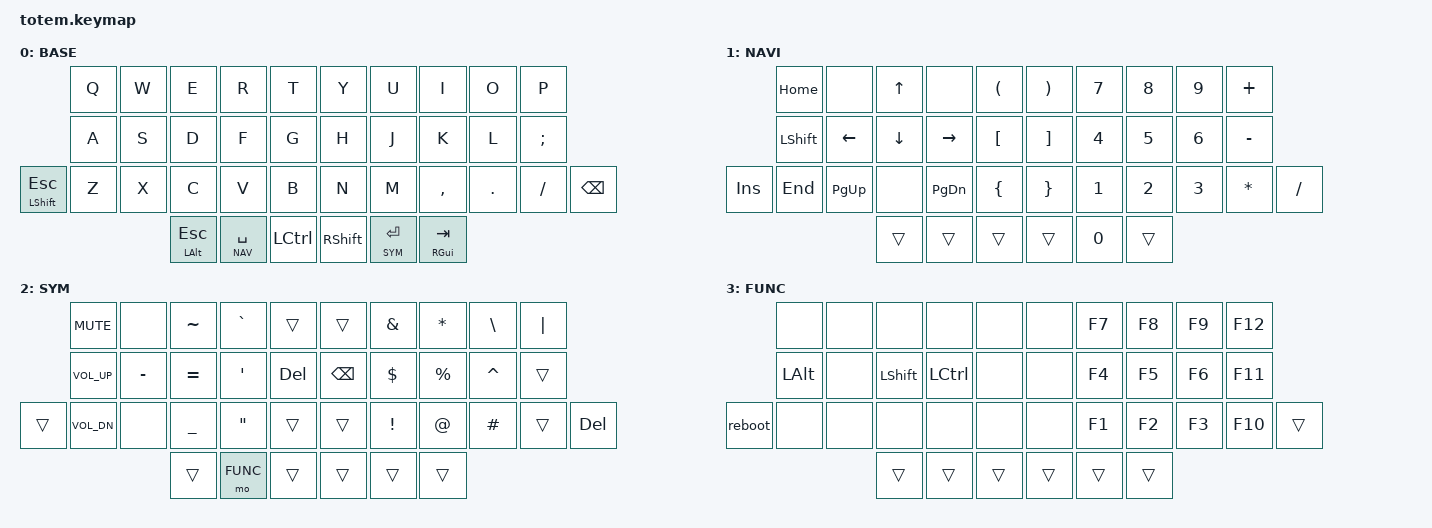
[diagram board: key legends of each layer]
//
//                                                        ▀▀▀▀▀     ▀▀▀▀▀          ▀▀█▀▀
//                                                        ▄▀▀▀▄  ▄  ▄▀▀▀▄  ▄  ▄▀▀▀▄  █  ▄▀▀▀▄
//                                                        █   █  █  █   █  █  █   █  █  █   █
//                                                         ▀▀▀   █   ▀▀▀   █   ▀▀▀   ▀   ▀▀▀
//                                                               █      ▄▄▄█▄▄▄    █   █
//                                                               ▀      █  █  █     █▄█
//                                                             ▀▀▀▀▀    █  █  █      ▀
//                                                                      ▀  ▀  ▀
//
// ▄▄▄▄▄▄▄▄▄▄▄▄▄▄▄▄▄▄▄▄▄▄▄▄▄▄▄▄▄▄▄▄▄▄▄▄▄▄▄▄▄▄▄▄▄▄▄▄▄▄▄▄▄▄▄▄▄▄▄▄▄▄▄▄▄▄▄▄▄▄▄▄▄▄▄▄▄▄▄▄▄▄▄▄▄▄▄▄▄▄▄▄▄▄▄▄▄▄▄▄▄▄▄▄▄▄▄▄▄▄▄▄▄▄▄▄▄▄▄▄▄▄▄▄▄▄▄▄▄▄▄▄▄▄▄▄▄▄▄▄▄▄▄▄▄▄▄▄▄


#include <behaviors.dtsi>
#include <dt-bindings/zmk/keys.h>
#include <dt-bindings/zmk/bt.h>
#include <dt-bindings/zmk/outputs.h>

#define BASE 0
#define NAV  1
#define SYM  2
#define FUNC 3

&mt {
  quick-tap-ms = <100>;
  global-quick-tap;
  flavor = "tap-preferred";
  tapping-term-ms = <170>;
};

/ {
     combos {
            compatible = "zmk,combos";
            combo_esc {
                timeout-ms = <50>;
                key-positions = <0 1>;
                bindings = <&kp ESC>;
            };
    };

    macros {
        reboot: reboot {
            label = "reboot";
            compatible = "zmk,behavior-macro";
            #binding-cells = <0>;
            bindings
                = <&macro_press &kp LCTRL>
                , <&macro_press &kp LALT>
                , <&macro_tap &kp DEL>
                , <&macro_release &kp LALT>
                , <&macro_release &kp LCTRL>
                ;
        };
    };

        keymap {
                compatible = "zmk,keymap";
// ▄▄▄▄▄▄▄▄▄▄▄▄▄▄▄▄▄▄▄▄▄▄▄▄▄▄▄▄▄▄▄▄▄▄▄▄▄▄▄▄▄▄▄▄▄▄▄▄▄▄▄▄▄▄▄▄▄▄▄▄▄▄▄▄▄▄▄▄▄▄▄▄▄▄▄▄▄▄▄▄▄▄▄▄▄▄▄▄▄▄▄▄▄▄▄▄▄▄▄▄▄▄▄▄▄▄▄▄▄▄▄▄▄▄▄▄▄▄▄▄▄▄▄▄▄▄▄▄▄▄▄▄▄▄▄▄▄▄▄▄▄▄▄▄▄▄▄▄▄

                base_layer {
// ┏━━━━━━━━━━━━━━━━━━━━━━━━━━━━━━━━━━━━━━━┓
label= "BASE"                              ;
// ┗━━━━━━━━━━━━━━━━━━━━━━━━━━━━━━━━━━━━━━━┛
//             ┏━━━━━━━━━━━┳━━━━━━━━━━━┳━━━━━━━━━━━┳━━━━━━━━━━━┳━━━━━━━━━━━┓   ┏━━━━━━━━━━━┳━━━━━━━━━━━┳━━━━━━━━━━━┳━━━━━━━━━━━┳━━━━━━━━━━━┓
//             ┃     Q     ┃     W     ┃     E     ┃     R     ┃     T     ┃   ┃     Y     ┃     U     ┃     I     ┃     O     ┃     P     ┃
//             ┣━━━━━━━━━━━╋━━━━━━━━━━━╋━━━━━━━━━━━╋━━━━━━━━━━━╋━━━━━━━━━━━┫   ┣━━━━━━━━━━━╋━━━━━━━━━━━╋━━━━━━━━━━━╋━━━━━━━━━━━╋━━━━━━━━━━━┫
//             ┃     A     ┃     S     ┃     D     ┃     F     ┃     G     ┃   ┃     H     ┃     J     ┃     K     ┃     L     ┃     ;     ┃
// ┏━━━━━━━━━━━╋━━━━━━━━━━━╋━━━━━━━━━━━╋━━━━━━━━━━━╋━━━━━━━━━━━╋━━━━━━━━━━━┫   ┣━━━━━━━━━━━╋━━━━━━━━━━━╋━━━━━━━━━━━╋━━━━━━━━━━━╋━━━━━━━━━━━╋━━━━━━━━━━━┓
// ┃    ESC    ┃     Z     ┃     X     ┃     C     ┃     V     ┃     B     ┃   ┃     N     ┃     M     ┃     ,     ┃     .     ┃     /     ┃    BSPC   ┃
// ┗━━━━━━━━━━━┻━━━━━━━━━━━┻━━━━━━━━━━━╋━━━━━━━━━━━╋━━━━━━━━━━━╋━━━━━━━━━━━┫   ┣━━━━━━━━━━━╋━━━━━━━━━━━╋━━━━━━━━━━━╋━━━━━━━━━━━┻━━━━━━━━━━━┻━━━━━━━━━━━┛
//                                     ┃    ALT    ┃    SPC    ┃   CTRL    ┃   ┃   SHIFT   ┃  ENTER    ┃    TAB    ┃
//                                     ┗━━━━━━━━━━━┻━━━━━━━━━━━┻━━━━━━━━━━━┛   ┗━━━━━━━━━━━┻━━━━━━━━━━━┻━━━━━━━━━━━┛
 bindings = <
// ╷           ╷           ╷           ╷           ╷           ╷           ╷   ╷           ╷           ╷           ╷           ╷           ╷           ╷

                &kp Q       &kp W       &kp E       &kp R       &kp T           &kp Y       &kp U       &kp I       &kp O       &kp P
                &kp A       &kp S       &kp D       &kp F       &kp G           &kp H       &kp J       &kp K       &kp L       &kp SEMI
 &mt LSHFT ESC  &kp Z       &kp X       &kp C       &kp V       &kp B           &kp N       &kp M       &kp COMMA   &kp DOT     &kp FSLH      &kp BSPC
                                       &mt LALT ESC &lt NAV SPACE  &kp LCTRL       &kp RSHFT &lt SYM ENTER   &mt RGUI TAB
                        >;
                };

// ▄▄▄▄▄▄▄▄▄▄▄▄▄▄▄▄▄▄▄▄▄▄▄▄▄▄▄▄▄▄▄▄▄▄▄▄▄▄▄▄▄▄▄▄▄▄▄▄▄▄▄▄▄▄▄▄▄▄▄▄▄▄▄▄▄▄▄▄▄▄▄▄▄▄▄▄▄▄▄▄▄▄▄▄▄▄▄▄▄▄▄▄▄▄▄▄▄▄▄▄▄▄▄▄▄▄▄▄▄▄▄▄▄▄▄▄▄▄▄▄▄▄▄▄▄▄▄▄▄▄▄▄▄▄▄▄▄▄▄▄▄▄▄▄▄▄▄▄▄


                nav_layer {
// ┏━━━━━━━━━━━━━━━━━━━━━━━━━━━━━━━━━━━━━━━┓
label= "NAVI"                              ;
// ┗━━━━━━━━━━━━━━━━━━━━━━━━━━━━━━━━━━━━━━━┛
//             ┏━━━━━━━━━━━┳━━━━━━━━━━━┳━━━━━━━━━━━┳━━━━━━━━━━━┳━━━━━━━━━━━┓   ┏━━━━━━━━━━━┳━━━━━━━━━━━┳━━━━━━━━━━━┳━━━━━━━━━━━┳━━━━━━━━━━━┓
//             ┃   HOME    ┃           ┃     UP    ┃           ┃     (     ┃   ┃     )     ┃     7     ┃     8     ┃     9     ┃     +     ┃
//             ┣━━━━━━━━━━━╋━━━━━━━━━━━╋━━━━━━━━━━━╋━━━━━━━━━━━╋━━━━━━━━━━━┫   ┣━━━━━━━━━━━╋━━━━━━━━━━━╋━━━━━━━━━━━╋━━━━━━━━━━━╋━━━━━━━━━━━┫
//             ┃   SHIFT   ┃   LEFT    ┃    DOWN   ┃   RIGHT   ┃     [     ┃   ┃     ]     ┃     4     ┃     5     ┃     6     ┃     -     ┃
// ┏━━━━━━━━━━━╋━━━━━━━━━━━╋━━━━━━━━━━━╋━━━━━━━━━━━╋━━━━━━━━━━━╋━━━━━━━━━━━┫   ┣━━━━━━━━━━━╋━━━━━━━━━━━╋━━━━━━━━━━━╋━━━━━━━━━━━╋━━━━━━━━━━━╋━━━━━━━━━━━┓
// ┃    INS    ┃    END    ┃   P UP    ┃           ┃  P DOWN   ┃     {     ┃   ┃     }     ┃     1     ┃     2     ┃     3     ┃     *     ┃    /      ┃
// ┗━━━━━━━━━━━┻━━━━━━━━━━━┻━━━━━━━━━━━╋━━━━━━━━━━━╋━━━━━━━━━━━╋━━━━━━━━━━━┫   ┣━━━━━━━━━━━╋━━━━━━━━━━━╋━━━━━━━━━━━╋━━━━━━━━━━━┻━━━━━━━━━━━┻━━━━━━━━━━━┛
//                                     ┃           ┃    XXX    ┃           ┃   ┃           ┃     0     ┃           ┃
//                                     ┗━━━━━━━━━━━┻━━━━━━━━━━━┻━━━━━━━━━━━┛   ┗━━━━━━━━━━━┻━━━━━━━━━━━┻━━━━━━━━━━━┛
 bindings = <
// ╷           ╷           ╷           ╷           ╷           ╷           ╷   ╷           ╷           ╷           ╷           ╷           ╷           ╷

                &kp HOME    &none       &kp UP      &none       &kp LPAR        &kp RPAR    &kp N7   &kp N8   &kp N9   &kp PLUS
                &kp LSHFT   &kp LEFT    &kp DOWN    &kp RIGHT   &kp LBKT        &kp RBKT    &kp N4   &kp N5   &kp N6   &kp MINUS
    &kp INS     &kp END     &kp PG_UP   &none       &kp PG_DN   &kp LBRC        &kp RBRC    &kp N1   &kp N2   &kp N3   &kp STAR   &kp FSLH
                                        &trans      &trans      &trans          &trans      &kp N0   &trans
                        >;
                };

// ▄▄▄▄▄▄▄▄▄▄▄▄▄▄▄▄▄▄▄▄▄▄▄▄▄▄▄▄▄▄▄▄▄▄▄▄▄▄▄▄▄▄▄▄▄▄▄▄▄▄▄▄▄▄▄▄▄▄▄▄▄▄▄▄▄▄▄▄▄▄▄▄▄▄▄▄▄▄▄▄▄▄▄▄▄▄▄▄▄▄▄▄▄▄▄▄▄▄▄▄▄▄▄▄▄▄▄▄▄▄▄▄▄▄▄▄▄▄▄▄▄▄▄▄▄▄▄▄▄▄▄▄▄▄▄▄▄▄▄▄▄▄▄▄▄▄▄▄▄


                sim_layer {
// ┏━━━━━━━━━━━━━━━━━━━━━━━━━━━━━━━━━━━━━━━┓
label= "SYM"                               ;
// ┗━━━━━━━━━━━━━━━━━━━━━━━━━━━━━━━━━━━━━━━┛
//             ┏━━━━━━━━━━━┳━━━━━━━━━━━┳━━━━━━━━━━━┳━━━━━━━━━━━┳━━━━━━━━━━━┓   ┏━━━━━━━━━━━┳━━━━━━━━━━━┳━━━━━━━━━━━┳━━━━━━━━━━━┳━━━━━━━━━━━┓
//             ┃   MUTE    ┃           ┃     ~     ┃     `     ┃           ┃   ┃           ┃     &     ┃     *     ┃     \     ┃     |     ┃
//             ┣━━━━━━━━━━━╋━━━━━━━━━━━╋━━━━━━━━━━━╋━━━━━━━━━━━╋━━━━━━━━━━━┫   ┣━━━━━━━━━━━╋━━━━━━━━━━━╋━━━━━━━━━━━╋━━━━━━━━━━━╋━━━━━━━━━━━┫
//             ┃   VOL+    ┃     -     ┃     =     ┃     '     ┃  DEL      ┃   ┃  BACKSP   ┃     $     ┃     %     ┃     ^     ┃           ┃
// ┏━━━━━━━━━━━╋━━━━━━━━━━━╋━━━━━━━━━━━╋━━━━━━━━━━━╋━━━━━━━━━━━╋━━━━━━━━━━━┫   ┣━━━━━━━━━━━╋━━━━━━━━━━━╋━━━━━━━━━━━╋━━━━━━━━━━━╋━━━━━━━━━━━╋━━━━━━━━━━━┓
// ┃           ┃   VOL-    ┃           ┃     _     ┃     "     ┃           ┃   ┃           ┃     !     ┃     @     ┃     #     ┃           ┃    DEL    ┃
// ┗━━━━━━━━━━━┻━━━━━━━━━━━┻━━━━━━━━━━━╋━━━━━━━━━━━╋━━━━━━━━━━━╋━━━━━━━━━━━┫   ┣━━━━━━━━━━━╋━━━━━━━━━━━╋━━━━━━━━━━━╋━━━━━━━━━━━┻━━━━━━━━━━━┻━━━━━━━━━━━┛
//                                     ┃           ┃   FUNC    ┃           ┃   ┃           ┃           ┃           ┃
//                                     ┗━━━━━━━━━━━┻━━━━━━━━━━━┻━━━━━━━━━━━┛   ┗━━━━━━━━━━━┻━━━━━━━━━━━┻━━━━━━━━━━━┛
 bindings = <
// ╷           ╷             ╷           ╷           ╷           ╷           ╷   ╷           ╷           ╷           ╷           ╷           ╷           ╷

                &kp C_MUTE   &none        &kp TILDE   &kp GRAVE   &trans          &trans     &kp AMPS    &kp STAR    &kp BSLH     &kp PIPE
                &kp C_VOL_UP &kp MINUS    &kp EQUAL   &kp APOS    &kp DEL         &kp BSPC   &kp DOLLAR  &kp PERCENT &kp CARET    &trans
    &trans      &kp C_VOL_DN &none        &kp UNDER   &kp DQT     &trans          &trans     &kp EXCL    &kp AT      &kp HASH     &trans      &kp DEL
                                          &trans      &mo FUNC    &trans          &trans     &trans      &trans
                        >;
                };

// ▄▄▄▄▄▄▄▄▄▄▄▄▄▄▄▄▄▄▄▄▄▄▄▄▄▄▄▄▄▄▄▄▄▄▄▄▄▄▄▄▄▄▄▄▄▄▄▄▄▄▄▄▄▄▄▄▄▄▄▄▄▄▄▄▄▄▄▄▄▄▄▄▄▄▄▄▄▄▄▄▄▄▄▄▄▄▄▄▄▄▄▄▄▄▄▄▄▄▄▄▄▄▄▄▄▄▄▄▄▄▄▄▄▄▄▄▄▄▄▄▄▄▄▄▄▄▄▄▄▄▄▄▄▄▄▄▄▄▄▄▄▄▄▄▄▄▄▄▄


                func_layer {
// ┏━━━━━━━━━━━━━━━━━━━━━━━━━━━━━━━━━━━━━━━┓
label= "FUNC"                               ;
// ┗━━━━━━━━━━━━━━━━━━━━━━━━━━━━━━━━━━━━━━━┛
//             ┏━━━━━━━━━━━┳━━━━━━━━━━━┳━━━━━━━━━━━┳━━━━━━━━━━━┳━━━━━━━━━━━┓   ┏━━━━━━━━━━━┳━━━━━━━━━━━┳━━━━━━━━━━━┳━━━━━━━━━━━┳━━━━━━━━━━━┓
//             ┃           ┃           ┃           ┃           ┃           ┃   ┃           ┃    F7     ┃    F8     ┃    F9     ┃    F12    ┃
//             ┣━━━━━━━━━━━╋━━━━━━━━━━━╋━━━━━━━━━━━╋━━━━━━━━━━━╋━━━━━━━━━━━┫   ┣━━━━━━━━━━━╋━━━━━━━━━━━╋━━━━━━━━━━━╋━━━━━━━━━━━╋━━━━━━━━━━━┫
//             ┃   ALT     ┃           ┃   SHIFT   ┃   CTRL    ┃           ┃   ┃           ┃    F4     ┃    F5     ┃    F6     ┃    F11    ┃
// ┏━━━━━━━━━━━╋━━━━━━━━━━━╋━━━━━━━━━━━╋━━━━━━━━━━━╋━━━━━━━━━━━╋━━━━━━━━━━━┫   ┣━━━━━━━━━━━╋━━━━━━━━━━━╋━━━━━━━━━━━╋━━━━━━━━━━━╋━━━━━━━━━━━╋━━━━━━━━━━━┓
// ┃  REBOOT   ┃           ┃           ┃           ┃           ┃           ┃   ┃           ┃    F1     ┃    F2     ┃    F3     ┃    F10    ┃           ┃
// ┗━━━━━━━━━━━┻━━━━━━━━━━━┻━━━━━━━━━━━╋━━━━━━━━━━━╋━━━━━━━━━━━╋━━━━━━━━━━━┫   ┣━━━━━━━━━━━╋━━━━━━━━━━━╋━━━━━━━━━━━╋━━━━━━━━━━━┻━━━━━━━━━━━┻━━━━━━━━━━━┛
//                                     ┃           ┃           ┃           ┃   ┃           ┃           ┃           ┃
//                                     ┗━━━━━━━━━━━┻━━━━━━━━━━━┻━━━━━━━━━━━┛   ┗━━━━━━━━━━━┻━━━━━━━━━━━┻━━━━━━━━━━━┛
 bindings = <
// ╷           ╷           ╷           ╷           ╷           ╷           ╷   ╷           ╷           ╷           ╷           ╷           ╷           ╷

                &none       &none      &none        &none      &none          &none      &kp F7      &kp F8      &kp F9      &kp F12
                &kp LALT    &none      &kp LSHFT    &kp LCTRL  &none          &none      &kp F4      &kp F5      &kp F6      &kp F11
    &reboot     &none       &none      &none        &none      &none          &none      &kp F1      &kp F2      &kp F3      &kp F10     &trans
                                       &trans       &trans     &trans         &trans     &trans      &trans
                        >;
                };
        };
};
